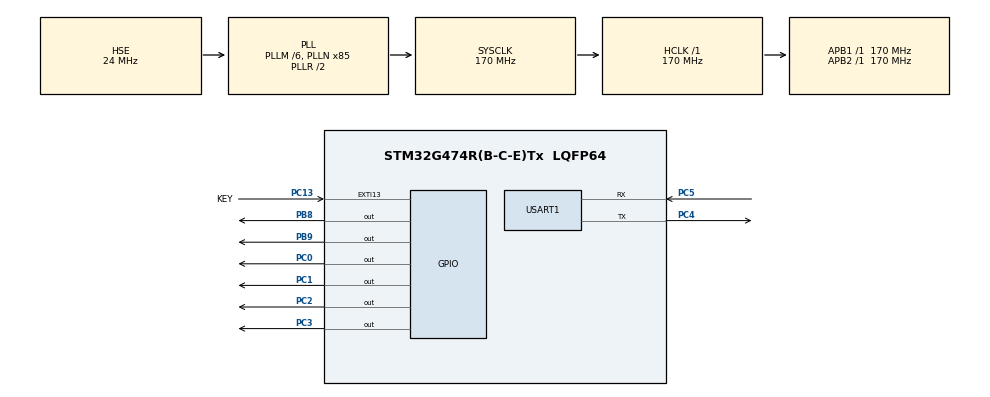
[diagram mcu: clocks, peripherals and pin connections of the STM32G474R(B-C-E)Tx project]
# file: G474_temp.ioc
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Mcu.Family=STM32G4
Mcu.Name=STM32G474R(B-C-E)Tx
Mcu.Package=LQFP64
NVIC.EXTI15_10_IRQn=true\:0\:0\:false\:false\:true\:true\:true\:true
NVIC.PriorityGroup=NVIC_PRIORITYGROUP_4
NVIC.USART1_IRQn=true\:0\:0\:false\:false\:true\:true\:true\:true
PA13.Mode=Serial_Wire
PA13.Signal=SYS_JTMS-SWDIO
PA14.Mode=Serial_Wire
PA14.Signal=SYS_JTCK-SWCLK
PB8-BOOT0.GPIO_FM8=__NULL
PB8-BOOT0.GPIO_ModeDefaultOutputPP=GPIO_MODE_OUTPUT_OD
PB8-BOOT0.GPIO_PuPd=GPIO_PULLUP
PB8-BOOT0.GPIO_Speed=GPIO_SPEED_FREQ_VERY_HIGH
PB8-BOOT0.Signal=GPIO_Output
PB9.GPIO_ModeDefaultOutputPP=GPIO_MODE_OUTPUT_OD
PB9.GPIO_PuPd=GPIO_PULLUP
PB9.GPIO_Speed=GPIO_SPEED_FREQ_VERY_HIGH
PB9.Signal=GPIO_Output
PC0.GPIO_PuPd=GPIO_PULLUP
PC0.GPIO_Speed=GPIO_SPEED_FREQ_LOW
PC0.Signal=GPIO_Output
PC1.GPIO_ModeDefaultOutputPP=GPIO_MODE_OUTPUT_PP
PC1.GPIO_PuPd=GPIO_NOPULL
PC1.Signal=GPIO_Output
PC13.GPIO_Label=KEY
PC13.Signal=GPXTI13
PC14-OSC32_IN.Mode=LSE-External-Oscillator
PC14-OSC32_IN.Signal=RCC_OSC32_IN
PC15-OSC32_OUT.Mode=LSE-External-Oscillator
PC15-OSC32_OUT.Signal=RCC_OSC32_OUT
PC2.GPIO_PuPd=GPIO_PULLUP
PC2.GPIO_Speed=GPIO_SPEED_FREQ_LOW
PC2.Signal=GPIO_Output
PC3.GPIO_PuPd=GPIO_PULLUP
PC3.GPIO_Speed=GPIO_SPEED_FREQ_LOW
PC3.Signal=GPIO_Output
PC4.Mode=Asynchronous
PC4.Signal=USART1_TX
PC5.Mode=Asynchronous
PC5.Signal=USART1_RX
PF0-OSC_IN.Mode=HSE-External-Oscillator
PF0-OSC_IN.Signal=RCC_OSC_IN
PF1-OSC_OUT.Mode=HSE-External-Oscillator
PF1-OSC_OUT.Signal=RCC_OSC_OUT
ProjectManager.HeapSize=0x200
ProjectManager.StackSize=0x400
ProjectManager.TargetToolchain=MDK-ARM V5.32
RCC.ADC12Freq_Value=170000000
RCC.ADC345Freq_Value=170000000
RCC.AHBFreq_Value=170000000
RCC.APB1Freq_Value=170000000
RCC.APB1TimFreq_Value=170000000
RCC.APB2Freq_Value=170000000
RCC.APB2TimFreq_Value=170000000
RCC.CortexFreq_Value=170000000
RCC.EXTERNAL_CLOCK_VALUE=12288000
RCC.HCLKFreq_Value=170000000
RCC.HSE_VALUE=24000000
RCC.HSI48_VALUE=48000000
RCC.HSI_VALUE=16000000
RCC.PLLM=RCC_PLLM_DIV6
RCC.PLLN=85
RCC.PLLSourceVirtual=RCC_PLLSOURCE_HSE
RCC.RTCClockSelection=RCC_RTCCLKSOURCE_LSE
RCC.SYSCLKFreq_VALUE=170000000
RCC.SYSCLKSource=RCC_SYSCLKSOURCE_PLLCLK
RCC.USBFreq_Value=170000000
RCC.VCOOutputFreq_Value=340000000
USART1.VirtualMode-Asynchronous=VM_ASYNC
VP_SYS_VS_DBSignals.Mode=DisableDeadBatterySignals
board=NUCLEO-G474RE

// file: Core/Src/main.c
/* USER CODE BEGIN Header */
/**
  ******************************************************************************
  * @file           : main.c
  * @brief          : Main program body
  ******************************************************************************
  * @attention
  *
  * Copyright (c) 2023 STMicroelectronics.
  * All rights reserved.
  *
  * This software is licensed under terms that can be found in the LICENSE file
  * in the root directory of this software component.
  * If no LICENSE file comes with this software, it is provided AS-IS.
  *
  ******************************************************************************
  */
/* USER CODE END Header */
#include "main.h"
#include "usart.h"
#include "gpio.h"

/* USER CODE BEGIN Includes */
#include "delay.h"
#include "myusart1.h"
#include "OLED_I2C.h"
#include "AD7190.h"
/* USER CODE END Includes */

void SystemClock_Config(void);

/* USER CODE BEGIN 0 */
long int ad7190Result[4];
/* USER CODE END 0 */

int main(void)
{

  /* MCU Configuration--------------------------------------------------------*/

  /* Reset of all peripherals, Initializes the Flash interface and the Systick. */
  HAL_Init();

  /* Configure the system clock */
  SystemClock_Config();

  /* Initialize all configured peripherals */
  MX_GPIO_Init();
  MX_USART1_UART_Init();
  /* USER CODE BEGIN 2 */
  delay_init(170);
  MyUSART1_Init(&huart1);
  OLED_Init();
  OLED_CLS();
  OLED_ShowStr(40,3,(unsigned char *)"START",2);
  uint8_t Rx_data[100];
  AD7190_Init();

  /* USER CODE END 2 */

  /* Infinite loop */
  /* USER CODE BEGIN WHILE */
  while (1)
  {
    if(MyUSART1_ReadLine(Rx_data))
    {
      MyUSART1_WriteLine((uint8_t *)"你发送的是");
      MyUSART1_WriteLine(Rx_data);
      if(Rx_data[0]=='0'&& Rx_data[1]=='1')
        OLED_ShowStr(40,3,(unsigned char *)"RIGHT",2);
      else
        OLED_ShowStr(40,3,(unsigned char *)"FALSE",2);
    }
	AdcGroupRead(ad7190Result);
	for(uint8_t i = 0; i < 4; i++)
		ad7190Result[i] = ((double)ad7190Result[i])/1/16777216*2500; //电压=ADC值/增益/(2^24)*参考电压
	printf("CH0:%8ldmV\r\n",ad7190Result[0]);
	printf("CH1:%8ldmV\r\n",ad7190Result[1]);
	printf("CH2:%8ldmV\r\n",ad7190Result[2]);
	printf("CH3:%8ldmV\r\n",ad7190Result[3]);
    delay_ms(1000);

    /* USER CODE END WHILE */

  }
}

void SystemClock_Config(void)
{
  RCC_OscInitTypeDef RCC_OscInitStruct = {0};
  RCC_ClkInitTypeDef RCC_ClkInitStruct = {0};

  /** Configure the main internal regulator output voltage
  */
  HAL_PWREx_ControlVoltageScaling(PWR_REGULATOR_VOLTAGE_SCALE1_BOOST);

  /** Initializes the RCC Oscillators according to the specified parameters
  * in the RCC_OscInitTypeDef structure.
  */
  RCC_OscInitStruct.OscillatorType = RCC_OSCILLATORTYPE_HSE;
  RCC_OscInitStruct.HSEState = RCC_HSE_ON;
  RCC_OscInitStruct.PLL.PLLState = RCC_PLL_ON;
  RCC_OscInitStruct.PLL.PLLSource = RCC_PLLSOURCE_HSE;
  RCC_OscInitStruct.PLL.PLLM = RCC_PLLM_DIV6;
  RCC_OscInitStruct.PLL.PLLN = 85;
  RCC_OscInitStruct.PLL.PLLP = RCC_PLLP_DIV2;
  RCC_OscInitStruct.PLL.PLLQ = RCC_PLLQ_DIV2;
  RCC_OscInitStruct.PLL.PLLR = RCC_PLLR_DIV2;
  if (HAL_RCC_OscConfig(&RCC_OscInitStruct) != HAL_OK)
  {
    Error_Handler();
  }

  /** Initializes the CPU, AHB and APB buses clocks
  */
  RCC_ClkInitStruct.ClockType = RCC_CLOCKTYPE_HCLK|RCC_CLOCKTYPE_SYSCLK
                              |RCC_CLOCKTYPE_PCLK1|RCC_CLOCKTYPE_PCLK2;
  RCC_ClkInitStruct.SYSCLKSource = RCC_SYSCLKSOURCE_PLLCLK;
  RCC_ClkInitStruct.AHBCLKDivider = RCC_SYSCLK_DIV1;
  RCC_ClkInitStruct.APB1CLKDivider = RCC_HCLK_DIV1;
  RCC_ClkInitStruct.APB2CLKDivider = RCC_HCLK_DIV1;

  if (HAL_RCC_ClockConfig(&RCC_ClkInitStruct, FLASH_LATENCY_4) != HAL_OK)
  {
    Error_Handler();
  }
}

/* USER CODE BEGIN 4 */
void HAL_GPIO_EXTI_Callback(uint16_t GPIO_PIN)
{
	static uint16_t num = 0;
	if(KEY_Pin)
	{
		OLED_CLS();
		OLED_ShowInt(40,3,num++,2);
	}
}
/* USER CODE END 4 */

void Error_Handler(void)
{
  __disable_irq();
  while (1)
  {
  }
}
